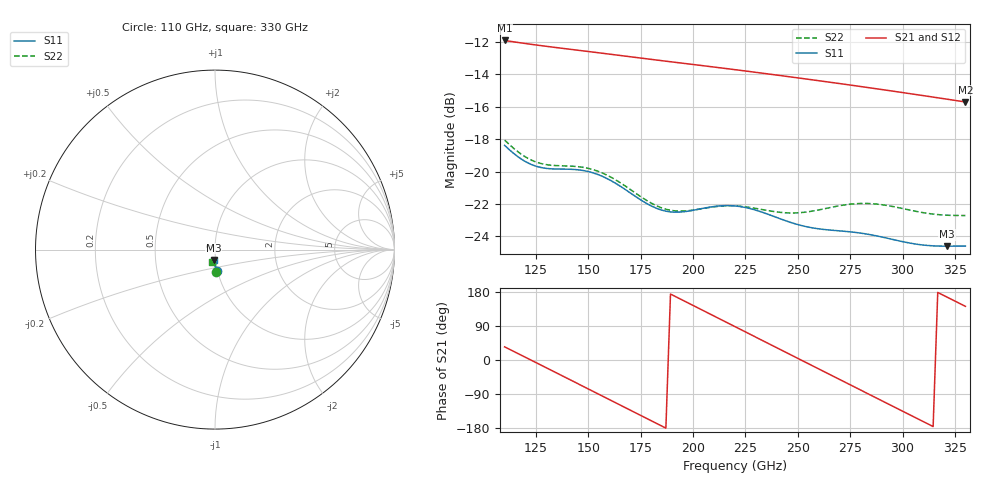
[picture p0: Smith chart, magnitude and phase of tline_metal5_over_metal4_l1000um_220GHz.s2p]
#  GHZ S DB R 50
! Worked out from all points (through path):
!   101 points, 110 GHz to 330 GHz, reference 50 ohm
!   highest |S21| = -11.93 dB at 110 GHz (marker M1); lowest = -15.7 dB at 330 GHz (marker M2)
!   group delay of S21, straight-line fit = 7.75 ps
!   lowest |S11| = -24.6 dB at 321.2 GHz (marker M3), VSWR 1.13, Z = 49 - j5.74 ohm
!   |S11| at or under -10 dB: start of sweep to end of sweep
!   |S22| runs from -22.7 to -18.1 dB; largest |S21 - S12| = 1.9e-13
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110  -18.39 -85.9  -11.93 34.7  -11.93 34.7  -18.07 -86.9
118.8  -19.30 -84.7  -12.09 10.3  -12.09 10.3  -19.01 -86.1
127.6  -19.76 -82.5  -12.25 -14.1  -12.25 -14.1  -19.52 -84.1
138.6  -19.85 -82.2  -12.43 -44.7  -12.43 -44.7  -19.65 -83.6
147.4  -19.94 -84.4  -12.57 -69.3  -12.57 -69.3  -19.74 -85.7
156.2  -20.27 -87.7  -12.71 -93.8  -12.71 -93.8  -20.07 -89.0
165  -20.89 -90.4  -12.85 -118.4  -12.85 -118.4  -20.67 -91.8
176  -21.83 -91.0  -13.03 -149.1  -13.03 -149.1  -21.63 -92.5
184.8  -22.37 -88.9  -13.17 -173.7  -13.17 -173.7  -22.23 -90.5
193.6  -22.50 -86.4  -13.31 161.8  -13.31 161.8  -22.44 -87.7
204.6  -22.27 -85.7  -13.48 131.1  -13.48 131.1  -22.28 -86.1
220  -22.12 -89.6  -13.73 88.0  -13.73 88.0  -22.12 -88.1
228.8  -22.34 -92.5  -13.87 63.5  -13.87 63.5  -22.25 -89.7
239.8  -22.83 -94.8  -14.06 32.7  -14.06 32.7  -22.49 -90.3
248.6  -23.22 -95.3  -14.21 8.2  -14.21 8.2  -22.55 -89.9
257.4  -23.48 -95.2  -14.36 -16.4  -14.36 -16.4  -22.43 -89.8
268.4  -23.64 -95.3  -14.55 -47.0  -14.55 -47.0  -22.14 -91.2
277.2  -23.75 -96.0  -14.71 -71.6  -14.71 -71.6  -21.99 -93.6
294.8  -24.17 -97.7  -15.04 -120.6  -15.04 -120.6  -22.14 -99.3
308  -24.50 -97.5  -15.29 -157.3  -15.29 -157.3  -22.49 -101.8
321.2  -24.60 -96.9  -15.54 166.1  -15.54 166.1  -22.69 -103.0
330  -24.59 -97.3  -15.72 141.6  -15.72 141.6  -22.71 -104.2
